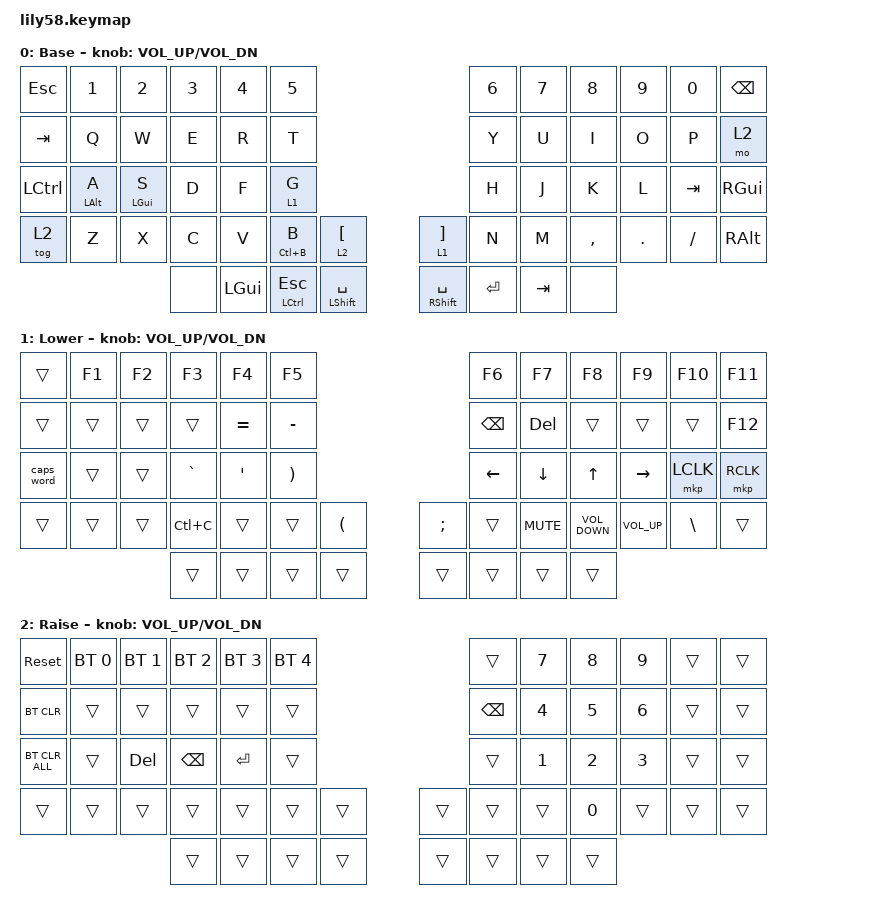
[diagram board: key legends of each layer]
/*
 * Copyright (c) 2020 The ZMK Contributors
 *
 * SPDX-License-Identifier: MIT
 */

#include <dt-bindings/zmk/mouse.h>
#include <behaviors.dtsi>
#include <dt-bindings/zmk/bt.h>
#include <dt-bindings/zmk/keys.h>
#include <dt-bindings/zmk/pointing.h>

&mt { flavor = "tap-preferred"; };

/ {
    combos {
        compatible = "zmk,combos";

        Spotlight {
            bindings = <&kp LG(SPACE)>;
            key-positions = <53 54>;
        };
    };

    keymap {
        compatible = "zmk,keymap";

        default_layer {
            // ------------------------------------------------------------------------------------------------------------
            // |  ESC  |  1  |  2  |  3   |  4   |  5   |                   |  6   |  7    |  8    |  9   |   0   |   `   |
            // |  TAB  |  Q  |  W  |  E   |  R   |  T   |                   |  Y   |  U    |  I    |  O   |   P   |   -   |
            // |  CTRL |  A  |  S  |  D   |  F   |  G   |                   |  H   |  J    |  K    |  L   |   ;   |   '   |
            // | SHIFT |  Z  |  X  |  C   |  V   |  B   |   "["  |  |  "]"  |  N   |  M    |  ,    |  .   |   /   | SHIFT |
            //                     | ALT  | GUI  | LOWER|  SPACE |  | ENTER | RAISE| BSPC  | GUI   |

            display-name = "Base";
            bindings = <
&kp ESCAPE  &kp NUMBER_1    &kp N2          &kp N3  &kp N4    &kp N5                                                           &kp N6     &kp N7   &kp N8     &kp N9   &kp N0    &kp BACKSPACE
&kp TAB     &kp Q           &kp W           &kp E   &kp R     &kp T                                                            &kp Y      &kp U    &kp I      &kp O    &kp P     &mo 2
&kp LCTRL   &mt LEFT_ALT A  &mt LEFT_GUI S  &kp D   &kp F     &lt 1 G                                                          &kp H      &kp J    &kp K      &kp L    &kp TAB   &kp RIGHT_GUI
&tog 2      &kp Z           &kp X           &kp C   &kp V     &mt LC(B) B       &lt 2 LBKT              &lt 1 RIGHT_BRACKET    &kp N      &kp M    &kp COMMA  &kp DOT  &kp FSLH  &kp RIGHT_ALT
                                            &none   &kp LGUI  &mt LCTRL ESCAPE  &mt LEFT_SHIFT SPACE    &mt RIGHT_SHIFT SPACE  &kp ENTER  &kp TAB  &none
            >;

            sensor-bindings = <&inc_dec_kp C_VOL_UP C_VOL_DN>;
        };

        lower_layer {
            // ------------------------------------------------------------------------------------------------------------
            // | BTCLR | BT1 | BT2 |  BT3 |  BT4 |  BT5 |                   |      |       |       |      |       |       |
            // |  F1   |  F2 |  F3 |  F4  |  F5  |  F6  |                   |  F7  |  F8   |  F9   |  F10 |  F11  |  F12  |
            // |   `   |  !  |  @  |  #   |  $   |  %   |                   |  ^   |  &    |  *    |  (   |   )   |   ~   |
            // |       |     |     |      |      |      |        |  |       |      |  _    |  +    |  {   |   }   |  "|"  |
            //                     |      |      |      |        |  |       |      |       |       |

            display-name = "Lower";
            bindings = <
&trans      &kp F1  &kp F2  &kp F3     &kp F4     &kp F5                                                        &kp F6          &kp F7      &kp F8             &kp F9           &kp F10        &kp F11
&trans      &trans  &trans  &trans     &kp EQUAL  &kp MINUS                                                     &kp BACKSPACE   &kp DELETE  &trans             &trans           &trans         &kp F12
&caps_word  &trans  &trans  &kp GRAVE  &kp SQT    &kp RIGHT_PARENTHESIS                                         &kp LEFT_ARROW  &kp DOWN    &kp UP_ARROW       &kp RIGHT        &mkp LCLK      &mkp RCLK
&trans      &trans  &trans  &kp LC(C)  &trans     &trans                 &kp LEFT_PARENTHESIS    &kp SEMICOLON  &trans          &kp K_MUTE  &kp C_VOLUME_DOWN  &kp C_VOLUME_UP  &kp BACKSLASH  &trans
                            &trans     &trans     &trans                 &trans                  &trans         &trans          &trans      &trans
            >;

            sensor-bindings = <&inc_dec_kp C_VOL_UP C_VOL_DN>;
        };

        raise_layer {
            // ------------------------------------------------------------------------------------------------------------
            // |       |     |     |      |      |      |                   |      |       |       |      |       |       |
            // |   `   |  1  |  2  |  3   |  4   |  5   |                   |  6   |   7   |   8   |  9   |   0   |       |
            // |   F1  |  F2 |  F3 |  F4  |  F5  |  F6  |                   |      |   <-  |   v   |  ^   |  ->   |       |
            // |   F7  |  F8 |  F9 |  F10 |  F11 |  F12 |        |  |       |  +   |   -   |   =   |  [   |   ]   |   \   |
            //                     |      |      |      |        |  |       |      |       |       |

            display-name = "Raise";
            bindings = <
&sys_reset      &bt BT_SEL 0  &bt BT_SEL 1  &bt BT_SEL 2   &bt BT_SEL 3  &bt BT_SEL 4                    &trans         &kp N7  &kp N8  &kp N9  &trans  &trans
&bt BT_CLR      &trans        &trans        &trans         &trans        &trans                          &kp BACKSPACE  &kp N4  &kp N5  &kp N6  &trans  &trans
&bt BT_CLR_ALL  &trans        &kp DELETE    &kp BACKSPACE  &kp ENTER     &trans                          &trans         &kp N1  &kp N2  &kp N3  &trans  &trans
&trans          &trans        &trans        &trans         &trans        &trans        &trans    &trans  &trans         &trans  &kp N0  &trans  &trans  &trans
                                            &trans         &trans        &trans        &trans    &trans  &trans         &trans  &trans
            >;

            sensor-bindings = <&inc_dec_kp C_VOL_UP C_VOL_DN>;
        };
    };
};
